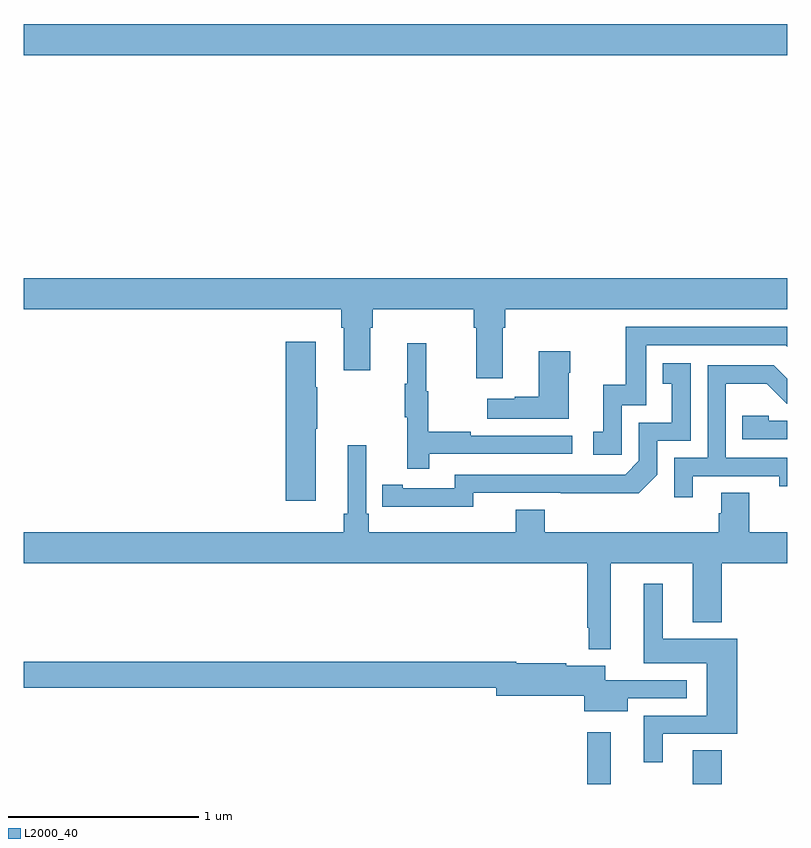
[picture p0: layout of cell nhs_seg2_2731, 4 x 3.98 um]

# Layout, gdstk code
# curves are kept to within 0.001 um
import gdstk
lib = gdstk.Library(unit=1e-6, precision=1e-09)
def R(c, l, rs):  # rectangles x0, y0, x1, y1
    for r in rs: c.add(gdstk.rectangle(r[:2], r[2:], *l))
def P(c, l, *ps):  # polygons
    for p in ps: c.add(gdstk.Polygon(p, *l))
L2000_40 = (2000, 40)

nhs_seg2_2731 = lib.new_cell('nhs_seg2_2731')
R(nhs_seg2_2731, L2000_40, [(255.954,659.8,256.075,660.07), (256.505,659.8,256.658,659.978), (253,663.62,257,663.784)])
P(nhs_seg2_2731, L2000_40, [(253,662.288),(254.663,662.288),(254.663,662.192),(254.675,662.192),(254.675,661.968),(254.815,661.968),(254.815,662.192),(254.828,662.192),(254.828,662.288),(255.359,662.288),(255.359,662.192),(255.371,662.192),(255.371,661.926),(255.511,661.926),(255.511,662.192),(255.524,662.192),(255.524,662.288),(257,662.288),(257,662.452),(253,662.452)],
  [(256.134,661.785),(256.263,661.785),(256.263,662.1),(256.992,662.1),(257,662.092),(257,662.196),(256.154,662.196),(256.154,661.894),(256.037,661.894),(256.037,661.647),(255.984,661.647),(255.984,661.527),(256.134,661.527)],
  [(254.53,661.663),(254.538,661.663),(254.538,661.88),(254.53,661.88),(254.53,662.119),(254.372,662.119),(254.372,661.284),(254.53,661.284)],
  [(255.125,661.53),(255.874,661.53),(255.874,661.626),(255.341,661.626),(255.341,661.646),(255.118,661.646),(255.118,661.86),(255.11,661.86),(255.11,662.11),(255.008,662.11),(255.008,661.897),(254.997,661.897),(254.997,661.723),(255.008,661.723),(255.008,661.452),(255.125,661.452)],
  [(255.856,661.955),(255.864,661.955),(255.864,662.068),(255.698,662.068),(255.698,661.829),(255.572,661.829),(255.572,661.819),(255.429,661.819),(255.429,661.715),(255.856,661.715)],
  [(255.354,661.326),(256.222,661.325),(256.32,661.422),(256.32,661.599),(256.494,661.599),(256.494,662.005),(256.348,662.005),(256.348,661.899),(256.397,661.899),(256.397,661.695),(256.224,661.695),(256.224,661.494),(256.152,661.422),(255.258,661.422),(255.258,661.35),(254.986,661.35),(254.986,661.37),(254.878,661.37),(254.878,661.254),(255.354,661.253)],
  [(256.507,661.413),(256.958,661.413),(256.958,661.362),(257,661.362),(257,661.509),(256.68,661.509),(256.68,661.898),(256.894,661.898),(256.998,661.794),(257,661.794),(257,661.925),(256.93,661.995),(256.584,661.995),(256.584,661.509),(256.41,661.509),(256.41,661.302),(256.507,661.302)],
  [(257,661.704),(256.905,661.704),(256.905,661.731),(256.765,661.731),(256.765,661.608),(257,661.608)],
  [(256.075,660.956),(256.505,660.956),(256.505,660.647),(256.658,660.647),(256.658,660.956),(257,660.956),(257,661.12),(256.803,661.12),(256.803,661.328),(256.655,661.328),(256.655,661.218),(256.642,661.218),(256.642,661.12),(255.731,661.12),(255.731,661.237),(255.578,661.237),(255.578,661.12),(254.807,661.12),(254.807,661.216),(254.793,661.216),(254.793,661.576),(254.696,661.576),(254.696,661.216),(254.677,661.216),(254.677,661.12),(253,661.12),(253,660.956),(255.954,660.956),(255.954,660.619),(255.961,660.619),(255.961,660.507),(256.075,660.507)],
  [(256.348,660.063),(256.739,660.063),(256.739,660.562),(256.348,660.562),(256.348,660.85),(256.25,660.85),(256.25,660.434),(256.58,660.434),(256.58,660.159),(256.25,660.159),(256.25,659.913),(256.348,659.913)],
  [(256.165,660.249),(256.474,660.249),(256.474,660.345),(256.048,660.345),(256.048,660.421),(255.842,660.421),(255.842,660.434),(255.58,660.434),(255.58,660.44),(253,660.44),(253,660.304),(255.476,660.304),(255.476,660.262),(255.938,660.262),(255.938,660.182),(256.165,660.182)])

lib.write_gds('nhs_seg2_2731.gds')
